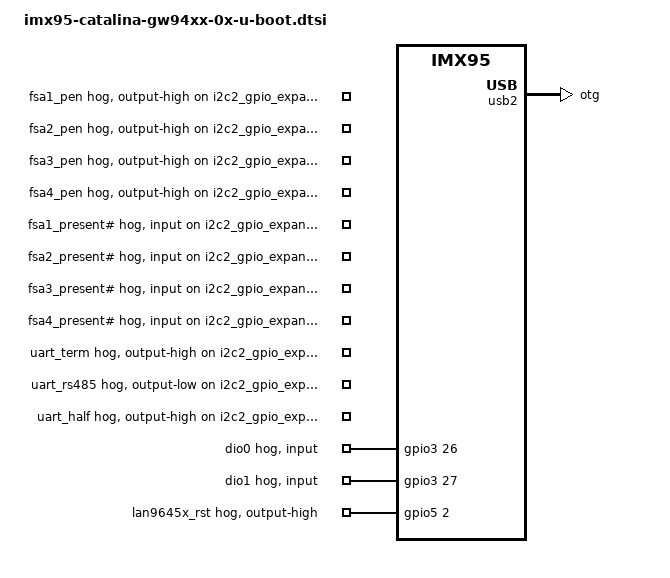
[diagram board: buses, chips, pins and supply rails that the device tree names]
// SPDX-License-Identifier: GPL-2.0+
/*
 * Copyright 2026 Gateworks
 */

#include "imx95-u-boot.dtsi"

&i2c2_gpio_expander_22 {
	fsa1_pen {
		gpio-hog;
		output-high;
		gpios = <0 GPIO_ACTIVE_HIGH>;
		line-name = "fsa1_pen";
	};

	fsa2_pen {
		gpio-hog;
		output-high;
		gpios = <1 GPIO_ACTIVE_HIGH>;
		line-name = "fsa2_pen";
	};

	fsa3_pen {
		gpio-hog;
		output-high;
		gpios = <2 GPIO_ACTIVE_HIGH>;
		line-name = "fsa3_pen";
	};

	fsa4_pen {
		gpio-hog;
		output-high;
		gpios = <3 GPIO_ACTIVE_HIGH>;
		line-name = "fsa4_pen";
	};

	fsa1_present {
		gpio-hog;
		input;
		gpios = <4 GPIO_ACTIVE_HIGH>;
		line-name = "fsa1_present#";
	};

	fsa2_present {
		gpio-hog;
		input;
		gpios = <5 GPIO_ACTIVE_HIGH>;
		line-name = "fsa2_present#";
	};

	fsa3_present {
		gpio-hog;
		input;
		gpios = <6 GPIO_ACTIVE_HIGH>;
		line-name = "fsa3_present#";
	};

	fsa4_present {
		gpio-hog;
		input;
		gpios = <7 GPIO_ACTIVE_HIGH>;
		line-name = "fsa4_present#";
	};

	uart_term {
		gpio-hog;
		output-high;
		gpios = <11 GPIO_ACTIVE_HIGH>;
		line-name = "uart_term";
	};

	uart_rs485 {
		gpio-hog;
		output-low;
		gpios = <12 GPIO_ACTIVE_HIGH>;
		line-name = "uart_rs485";
	};

	uart_half {
		gpio-hog;
		output-high;
		gpios = <13 GPIO_ACTIVE_HIGH>;
		line-name = "uart_half";
	};
};

&gpio3 {
	dio0 {
		gpio-hog;
		input;
		gpios = <26 GPIO_ACTIVE_HIGH>;
		line-name = "dio0";
	};

	dio1 {
		gpio-hog;
		input;
		gpios = <27 GPIO_ACTIVE_HIGH>;
		line-name = "dio1";
	};
};

/* TODO: would rather do this in kernel */
&gpio5 {
	lan9645x_rst {
		gpio-hog;
		output-high;
		gpios = <2 GPIO_ACTIVE_HIGH>;
		line-name = "lan9645x_rst";
	};
};

/* DP83867 needs 1uS assertion and 195us post-delay */
&ethphy0 {
	reset-gpios = <&gpio5 3 GPIO_ACTIVE_LOW>;
	reset-assert-us = <2>;
	reset-deassert-us = <200>;
};

&lpi2c2 {
	bootph-pre-ram;
};

&pinctrl_lpi2c2 {
	bootph-pre-ram;
};

&gsc {
	bootph-pre-ram;
};

&lpuart1 {
	bootph-pre-ram;
};

&reg_usdhc2_vmmc {
	bootph-pre-ram;
};

&usb2 {
	bootph-pre-ram;
	dr_mode = "otg";
};

&usbphynop {
	bootph-pre-ram;
};

&usb3 {
	bootph-pre-ram;
};

&usb3_dwc3 {
	bootph-pre-ram;
};

&usb3_phy {
	bootph-pre-ram;
};

&usdhc1 {
	bootph-pre-ram;
};

&usdhc2 {
	bootph-pre-ram;
};

/* disable SDHC3 as we do not want it considered for boot */
&usdhc3 {
	status = "disabled";
};

&wdog3 {
	status = "disabled";
};

&pinctrl_uart1 {
	bootph-pre-ram;
};

&pinctrl_usdhc1 {
	bootph-pre-ram;
};

&pinctrl_usdhc1_100mhz {
	bootph-pre-ram;
};

&pinctrl_usdhc1_200mhz {
	bootph-pre-ram;
};

&pinctrl_usdhc2 {
	bootph-pre-ram;
};

&pinctrl_usdhc2_100mhz {
	bootph-pre-ram;
};

&pinctrl_usdhc2_200mhz {
	bootph-pre-ram;
};

&pinctrl_usdhc2_gpio {
	bootph-pre-ram;
};

&pinctrl_reg_usdhc2_vmmc {
	bootph-pre-ram;
};
